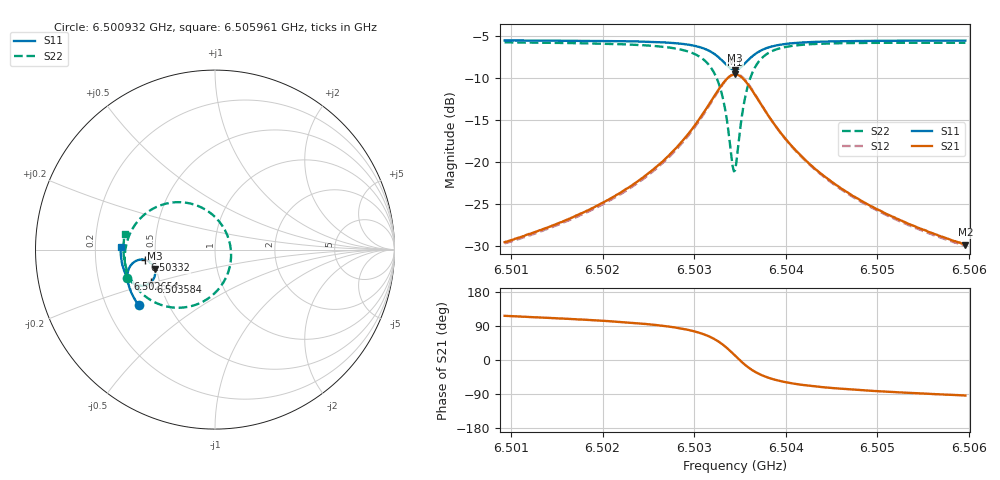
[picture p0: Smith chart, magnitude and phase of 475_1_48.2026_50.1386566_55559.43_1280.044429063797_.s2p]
#  HZ  S  RI  R  50.00
! Rohde & Schwarz Vector Network Analyzer
! Rohde-Schwarz,ZNB20-2Port,1311601062101988,3.16
! Created: UTC 3/20/2024, 11:57:18 AM
! freq[Hz]  re:S11  im:S11  re:S21  im:S21  re:S12  im:S12  re:S22  im:S22
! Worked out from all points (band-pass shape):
!   401 points, 6.500932 GHz to 6.505961 GHz, reference 50 ohm
!   highest |S21| = -9.60 dB at 6.503446 GHz (marker M1); lowest = -29.8 dB at 6.505961 GHz (marker M2)
!   |S21| within 3 dB of the highest: 6.503195 GHz to 6.503698 GHz (503.3 kHz wide, 0.00774 % of centre)
!   lowest |S11| = -9.1 dB at 6.503446 GHz (marker M3), VSWR 2.09, Z = 24.4 - j5.91 ohm
!   |S11| at or under -10 dB: nowhere
!   |S22| runs from -21.1 to -5.8 dB; largest |S21 - S12| = 0.011
!   S11 on the Smith chart (normalised r, x): 6.500932 GHz: 0.34, -0.29; 6.502654 GHz: 0.33, -0.14; 6.50332 GHz: 0.44, -0.06; 6.503584 GHz: 0.45, -0.19; 6.505961 GHz: 0.31, +0.01
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6.5009315e9  -0.4256 -0.3103  -0.015 0.03  -0.0132 0.0302  -0.4889 -0.1567
6.5017739e9  -0.462 -0.2482  -0.0143 0.0477  -0.0119 0.0473  -0.5025 -0.0677
6.5022265e9  -0.478 -0.2082  -0.0114 0.0665  -0.00856 0.0655  -0.4999 -0.00379
6.5026163e9  -0.4874 -0.1654  -0.00231 0.0966  0.00131 0.0943  -0.4804 0.0735
6.502654e9  -0.4878 -0.1605  -0.000552 0.1006  0.00311 0.0984  -0.4764 0.0829
6.5029306e9  -0.4837 -0.1175  0.0261 0.1433  0.0298 0.1389  -0.421 0.1689
6.5031192e9  -0.4624 -0.0793  0.0804 0.1856  0.0828 0.1794  -0.3175 0.2413
6.5032323e9  -0.4297 -0.0587  0.1496 0.2032  0.1504 0.1971  -0.1926 0.264
6.5033203e9  -0.3891 -0.0569  0.2292 0.1872  0.2296 0.1822  -0.0551 0.2237
6.503358e9  -0.3697 -0.0646  0.2659 0.164  0.2668 0.1595  0.00534 0.1769
6.5034209e9  -0.3427 -0.0914  0.3138 0.0995  0.3166 0.095  0.0778 0.0533
6.503446e9  -0.3363 -0.1062  0.3243 0.0673  0.3276 0.0617  0.089 -0.00716
6.5034712e9  -0.3332 -0.122  0.328 0.0334  0.3317 0.0266  0.0873 -0.0691
6.503534e9  -0.3404 -0.1596  0.3096 -0.045  0.3121 -0.055  0.0315 -0.2054
6.5035843e9  -0.3568 -0.1818  0.2761 -0.0909  0.276 -0.1021  -0.0451 -0.277
6.5036975e9  -0.4014 -0.2014  0.1914 -0.1359  0.1861 -0.1456  -0.2171 -0.3238
6.5038609e9  -0.4478 -0.1918  0.109 -0.1329  0.102 -0.138  -0.3652 -0.2768
6.5040369e9  -0.4756 -0.1704  0.0641 -0.1126  0.0581 -0.1149  -0.4377 -0.2116
6.5042884e9  -0.4964 -0.1404  0.0341 -0.0881  0.0293 -0.0887  -0.4812 -0.1395
6.5046656e9  -0.5119 -0.101  0.015 -0.0648  0.0117 -0.0645  -0.5038 -0.0645
6.5051307e9  -0.5213 -0.0579  0.00515 -0.0482  0.0027 -0.0475  -0.5101 0.00122
6.5059605e9  -0.5262 0.0123  -0.00206 -0.0323  -0.00346 -0.0315  -0.5024 0.089
